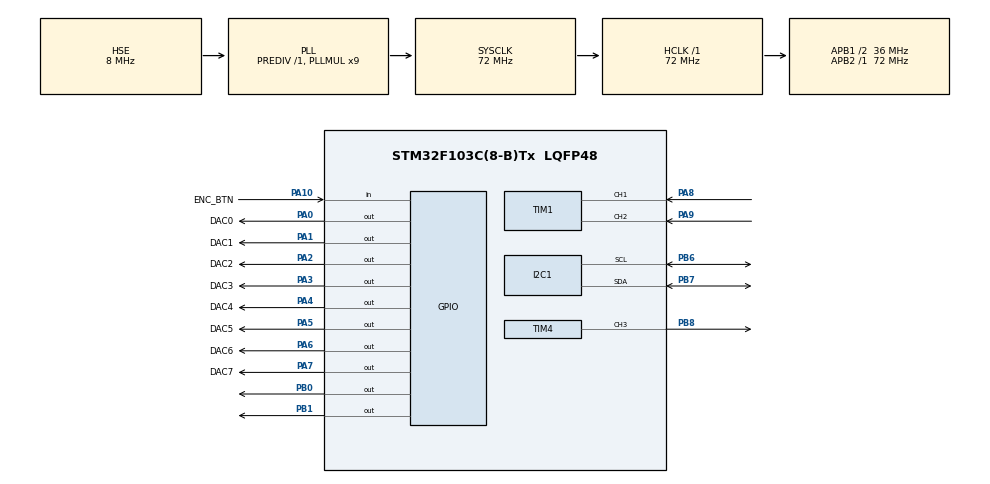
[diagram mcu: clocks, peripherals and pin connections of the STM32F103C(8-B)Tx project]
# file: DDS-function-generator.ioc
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Dma.Request0=TIM2_UP
Dma.TIM2_UP.0.Direction=DMA_MEMORY_TO_PERIPH
Dma.TIM2_UP.0.Instance=DMA1_Channel2
Dma.TIM2_UP.0.MemDataAlignment=DMA_MDATAALIGN_BYTE
Dma.TIM2_UP.0.MemInc=DMA_MINC_ENABLE
Dma.TIM2_UP.0.Mode=DMA_CIRCULAR
Dma.TIM2_UP.0.PeriphDataAlignment=DMA_PDATAALIGN_BYTE
Dma.TIM2_UP.0.PeriphInc=DMA_PINC_DISABLE
Dma.TIM2_UP.0.Priority=DMA_PRIORITY_VERY_HIGH
Mcu.Family=STM32F1
Mcu.Name=STM32F103C(8-B)Tx
Mcu.Package=LQFP48
NVIC.DMA1_Channel2_IRQn=true\:0\:0\:false\:false\:true\:false\:true
NVIC.PriorityGroup=NVIC_PRIORITYGROUP_4
NVIC.TIM3_IRQn=true\:0\:0\:false\:false\:true\:true\:true
PA0-WKUP.GPIO_Label=DAC0
PA0-WKUP.GPIO_Speed=GPIO_SPEED_FREQ_HIGH
PA0-WKUP.Signal=GPIO_Output
PA1.GPIO_Label=DAC1
PA1.GPIO_Speed=GPIO_SPEED_FREQ_HIGH
PA1.Signal=GPIO_Output
PA10.GPIO_Label=ENC_BTN
PA10.Signal=GPIO_Input
PA13.Mode=Serial_Wire
PA13.Signal=SYS_JTMS-SWDIO
PA14.Mode=Serial_Wire
PA14.Signal=SYS_JTCK-SWCLK
PA2.GPIO_Label=DAC2
PA2.GPIO_Speed=GPIO_SPEED_FREQ_HIGH
PA2.Signal=GPIO_Output
PA3.GPIO_Label=DAC3
PA3.GPIO_Speed=GPIO_SPEED_FREQ_HIGH
PA3.Signal=GPIO_Output
PA4.GPIO_Label=DAC4
PA4.GPIO_Speed=GPIO_SPEED_FREQ_HIGH
PA4.Signal=GPIO_Output
PA5.GPIO_Label=DAC5
PA5.GPIO_Speed=GPIO_SPEED_FREQ_HIGH
PA5.Signal=GPIO_Output
PA6.GPIO_Label=DAC6
PA6.GPIO_Speed=GPIO_SPEED_FREQ_HIGH
PA6.Signal=GPIO_Output
PA7.GPIO_Label=DAC7
PA7.GPIO_Speed=GPIO_SPEED_FREQ_HIGH
PA7.Signal=GPIO_Output
PA8.Signal=S_TIM1_CH1
PA9.Signal=S_TIM1_CH2
PB0.Signal=GPIO_Output
PB1.Signal=GPIO_Output
PB6.Mode=I2C
PB6.Signal=I2C1_SCL
PB7.Mode=I2C
PB7.Signal=I2C1_SDA
PB8.Signal=S_TIM4_CH3
PD0-OSC_IN.Mode=HSE-External-Oscillator
PD0-OSC_IN.Signal=RCC_OSC_IN
PD1-OSC_OUT.Mode=HSE-External-Oscillator
PD1-OSC_OUT.Signal=RCC_OSC_OUT
ProjectManager.HeapSize=0x200
ProjectManager.StackSize=0x400
ProjectManager.TargetToolchain=STM32CubeIDE
RCC.AHBFreq_Value=72000000
RCC.APB1CLKDivider=RCC_HCLK_DIV2
RCC.APB1Freq_Value=36000000
RCC.APB1TimFreq_Value=72000000
RCC.APB2Freq_Value=72000000
RCC.APB2TimFreq_Value=72000000
RCC.HCLKFreq_Value=72000000
RCC.PLLMUL=RCC_PLL_MUL9
RCC.PLLSourceVirtual=RCC_PLLSOURCE_HSE
RCC.SYSCLKFreq_VALUE=72000000
RCC.SYSCLKSource=RCC_SYSCLKSOURCE_PLLCLK
RCC.USBFreq_Value=72000000
SH.S_TIM1_CH1.0=TIM1_CH1,Encoder_Interface
SH.S_TIM1_CH2.0=TIM1_CH2,Encoder_Interface
SH.S_TIM4_CH3.0=TIM4_CH3,PWM Generation3 CH3
TIM1.EncoderMode=TIM_ENCODERMODE_TI12
TIM1.IC1Polarity=TIM_ICPOLARITY_FALLING
TIM1.IC2Polarity=TIM_ICPOLARITY_FALLING
TIM2.Period=65535
TIM2.Prescaler=5-1
TIM3.Period=40-1
TIM3.Prescaler=36000-1
TIM4.Channel-PWM\ Generation3\ CH3=TIM_CHANNEL_3
TIM4.Period=800-1
TIM4.Prescaler=9-1
TIM4.Pulse-PWM\ Generation3\ CH3=400-1
VP_TIM2_VS_ClockSourceINT.Mode=Internal
VP_TIM3_VS_ClockSourceINT.Mode=Internal
board=custom

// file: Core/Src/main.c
/* USER CODE BEGIN Header */
/**
  ******************************************************************************
  * @file           : main.c
  * @brief          : Main program body
  ******************************************************************************
  * @attention
  *
  * <h2><center>&copy; Copyright (c) 2022 STMicroelectronics.
  * All rights reserved.</center></h2>
  *
  * This software component is licensed by ST under BSD 3-Clause license,
  * the "License"; You may not use this file except in compliance with the
  * License. You may obtain a copy of the License at:
  *                        opensource.org/licenses/BSD-3-Clause
  *
  ******************************************************************************
  */
/* USER CODE END Header */
#include "main.h"
#include "dma.h"
#include "i2c.h"
#include "tim.h"
#include "gpio.h"

/* USER CODE BEGIN Includes */
#include "dds.h"
#include "ssd1306.h"
#include "rotary_encoder.h"
#include "menu.h"
/* USER CODE END Includes */

/* USER CODE BEGIN PV */
volatile RotaryEncoder encoder;
/* USER CODE END PV */

void SystemClock_Config(void);

int main(void)
{
  /* USER CODE BEGIN 1 */
  DDS dds;
  SSD1306 display;
  Menu menu;
  /* USER CODE END 1 */

  /* MCU Configuration--------------------------------------------------------*/

  /* Reset of all peripherals, Initializes the Flash interface and the Systick. */
  HAL_Init();

  /* Configure the system clock */
  SystemClock_Config();

  /* Initialize all configured peripherals */
  MX_GPIO_Init();
  MX_DMA_Init();
  MX_TIM2_Init();
  MX_TIM1_Init();
  MX_TIM3_Init();
  MX_I2C1_Init();
  MX_TIM4_Init();
  /* USER CODE BEGIN 2 */

  // initialize the dds generator
  DDS_Init(&dds, SINEWAVE_LUT, SINEWAVE_LUT_SIZE, SINE, 100, DDS_MAX_AMP, GPIOA, &htim2, &htim4);

  // initialize the display
  SSD1306_Init(&display, &hi2c1, &SSD1306_FONT6x8);
  // start the timers for rotary encoder processing
  // and initialize required variables
  RotaryEncoder_Init(&encoder, 80, &htim1, &htim3, ENC_BTN_GPIO_Port, ENC_BTN_Pin);
  HAL_TIM_Base_Start_IT(&htim3);
  HAL_TIM_Encoder_Start(&htim1, TIM_CHANNEL_ALL);

  // initialize the menu
  Menu_Init(&menu, &display, &encoder, &dds);
  // start the dds
  // DDS_Start(&dds);

  /* USER CODE END 2 */

  /* Infinite loop */
  /* USER CODE BEGIN WHILE */
  while (1)
  {
	// check if button was pressed
	if(!HAL_GPIO_ReadPin(encoder.btnPort, encoder.btnPin)) {
		// wait for user to release the button
		while(!HAL_GPIO_ReadPin(encoder.btnPort, encoder.btnPin));
		encoder.btnChange = 1;
	}
	Menu_Update(&menu);
	// reset the changes
	if(encoder.change && menu.change) {
	  encoder.change = 0;
	  menu.change = 0;
	}
	if(encoder.btnChange && menu.change) {
	  encoder.btnChange = 0;
	  menu.change = 0;
	}
    /* USER CODE END WHILE */

  }
}

void SystemClock_Config(void)
{
  RCC_OscInitTypeDef RCC_OscInitStruct = {0};
  RCC_ClkInitTypeDef RCC_ClkInitStruct = {0};

  /** Initializes the RCC Oscillators according to the specified parameters
  * in the RCC_OscInitTypeDef structure.
  */
  RCC_OscInitStruct.OscillatorType = RCC_OSCILLATORTYPE_HSE;
  RCC_OscInitStruct.HSEState = RCC_HSE_ON;
  RCC_OscInitStruct.HSEPredivValue = RCC_HSE_PREDIV_DIV1;
  RCC_OscInitStruct.HSIState = RCC_HSI_ON;
  RCC_OscInitStruct.PLL.PLLState = RCC_PLL_ON;
  RCC_OscInitStruct.PLL.PLLSource = RCC_PLLSOURCE_HSE;
  RCC_OscInitStruct.PLL.PLLMUL = RCC_PLL_MUL9;
  if (HAL_RCC_OscConfig(&RCC_OscInitStruct) != HAL_OK)
  {
    Error_Handler();
  }
  /** Initializes the CPU, AHB and APB buses clocks
  */
  RCC_ClkInitStruct.ClockType = RCC_CLOCKTYPE_HCLK|RCC_CLOCKTYPE_SYSCLK
                              |RCC_CLOCKTYPE_PCLK1|RCC_CLOCKTYPE_PCLK2;
  RCC_ClkInitStruct.SYSCLKSource = RCC_SYSCLKSOURCE_PLLCLK;
  RCC_ClkInitStruct.AHBCLKDivider = RCC_SYSCLK_DIV1;
  RCC_ClkInitStruct.APB1CLKDivider = RCC_HCLK_DIV2;
  RCC_ClkInitStruct.APB2CLKDivider = RCC_HCLK_DIV1;

  if (HAL_RCC_ClockConfig(&RCC_ClkInitStruct, FLASH_LATENCY_2) != HAL_OK)
  {
    Error_Handler();
  }
}

/* USER CODE BEGIN 4 */
void HAL_TIM_PeriodElapsedCallback(TIM_HandleTypeDef *htim) {
  if(htim == &htim3) {
    uint16_t Encoder_NewTimerValue = __HAL_TIM_GET_COUNTER(&htim1);
    if(Encoder_NewTimerValue % 4 || encoder.change) return;
    if(Encoder_NewTimerValue >= 65400 && Encoder_NewTimerValue <= 65535 && encoder.previousTimerVal <= 50)
    	encoder.rotationSpeed = encoder.previousTimerVal - (int32_t)(65535 - Encoder_NewTimerValue);
    else if(encoder.previousTimerVal >= 65400 && encoder.previousTimerVal <= 65535 && Encoder_NewTimerValue <= 50)
    	encoder.rotationSpeed = (int32_t)(65535 - encoder.previousTimerVal) - Encoder_NewTimerValue;
    else
    	encoder.rotationSpeed = (int32_t)Encoder_NewTimerValue - encoder.previousTimerVal;

    encoder.rotationSpeed = (encoder.rotationSpeed * 50000)/80;	// in revolutions per ms
    encoder.previousTimerVal = Encoder_NewTimerValue;

    if(encoder.rotationSpeed != 0) {
    	encoder.change = 1;	// indicate change in main loop
    }
  }
}
/* USER CODE END 4 */

void Error_Handler(void)
{
  __disable_irq();
  while (1)
  {
  }
}

/************************ (C) COPYRIGHT STMicroelectronics *****END OF FILE****/
